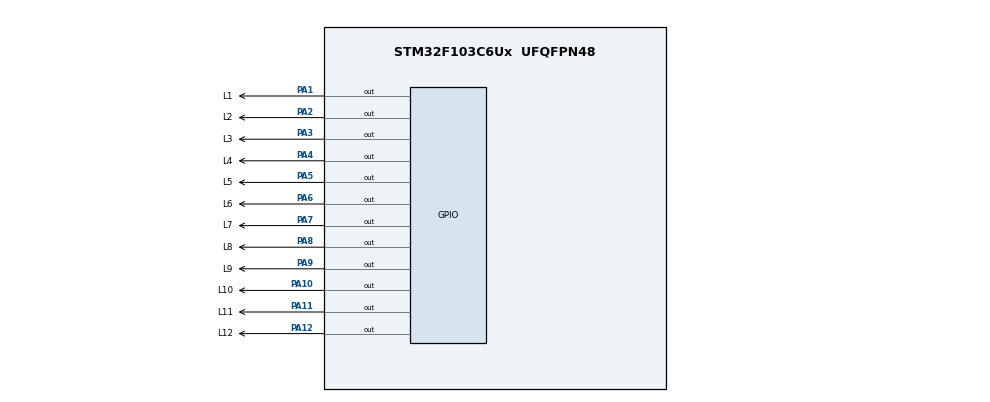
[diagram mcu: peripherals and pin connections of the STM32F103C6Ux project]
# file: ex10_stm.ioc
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Mcu.Family=STM32F1
Mcu.Name=STM32F103C6Ux
Mcu.Package=UFQFPN48
NVIC.PriorityGroup=NVIC_PRIORITYGROUP_4
PA1.GPIO_Label=L1
PA1.Signal=GPIO_Output
PA10.GPIO_Label=L10
PA10.Signal=GPIO_Output
PA11.GPIO_Label=L11
PA11.Signal=GPIO_Output
PA12.GPIO_Label=L12
PA12.Signal=GPIO_Output
PA2.GPIO_Label=L2
PA2.Signal=GPIO_Output
PA3.GPIO_Label=L3
PA3.Signal=GPIO_Output
PA4.GPIO_Label=L4
PA4.Signal=GPIO_Output
PA5.GPIO_Label=L5
PA5.Signal=GPIO_Output
PA6.GPIO_Label=L6
PA6.Signal=GPIO_Output
PA7.GPIO_Label=L7
PA7.Signal=GPIO_Output
PA8.GPIO_Label=L8
PA8.Signal=GPIO_Output
PA9.GPIO_Label=L9
PA9.Signal=GPIO_Output
ProjectManager.HeapSize=0x200
ProjectManager.StackSize=0x400
ProjectManager.TargetToolchain=STM32CubeIDE
RCC.APB1Freq_Value=8000000
RCC.APB2Freq_Value=8000000
VP_SYS_VS_ND.Mode=No_Debug
board=custom

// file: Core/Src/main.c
/* USER CODE BEGIN Header */
/**
  ******************************************************************************
  * @file           : main.c
  * @brief          : Main program body
  ******************************************************************************
  * @attention
  *
  * <h2><center>&copy; Copyright (c) 2022 STMicroelectronics.
  * All rights reserved.</center></h2>
  *
  * This software component is licensed by ST under BSD 3-Clause license,
  * the "License"; You may not use this file except in compliance with the
  * License. You may obtain a copy of the License at:
  *                        opensource.org/licenses/BSD-3-Clause
  *
  ******************************************************************************
  */
/* USER CODE END Header */
#include "main.h"

void SystemClock_Config(void);
static void MX_GPIO_Init(void);

/* USER CODE BEGIN 0 */
void clearAllClock();
void setNumberOnClock(int num);
void clearNumberOnClock(int num);

void clearAllClock()
{
	HAL_GPIO_WritePin(GPIOA, L1_Pin, GPIO_PIN_RESET);
	HAL_GPIO_WritePin(GPIOA, L2_Pin, GPIO_PIN_RESET);
	HAL_GPIO_WritePin(GPIOA, L3_Pin, GPIO_PIN_RESET);
	HAL_GPIO_WritePin(GPIOA, L4_Pin, GPIO_PIN_RESET);
	HAL_GPIO_WritePin(GPIOA, L5_Pin, GPIO_PIN_RESET);
	HAL_GPIO_WritePin(GPIOA, L6_Pin, GPIO_PIN_RESET);
	HAL_GPIO_WritePin(GPIOA, L7_Pin, GPIO_PIN_RESET);
	HAL_GPIO_WritePin(GPIOA, L8_Pin, GPIO_PIN_RESET);
	HAL_GPIO_WritePin(GPIOA, L9_Pin, GPIO_PIN_RESET);
	HAL_GPIO_WritePin(GPIOA, L10_Pin, GPIO_PIN_RESET);
	HAL_GPIO_WritePin(GPIOA, L11_Pin, GPIO_PIN_RESET);
	HAL_GPIO_WritePin(GPIOA, L12_Pin, GPIO_PIN_RESET);
}

void setNumberOnClock(int num)
{
	if(num == 1) HAL_GPIO_WritePin(L1_GPIO_Port, L1_Pin, GPIO_PIN_SET);
	if(num == 2) HAL_GPIO_WritePin(L2_GPIO_Port, L2_Pin, GPIO_PIN_SET);
	if(num == 3) HAL_GPIO_WritePin(L3_GPIO_Port, L3_Pin, GPIO_PIN_SET);
	if(num == 4) HAL_GPIO_WritePin(L4_GPIO_Port, L4_Pin, GPIO_PIN_SET);
	if(num == 5) HAL_GPIO_WritePin(L5_GPIO_Port, L5_Pin, GPIO_PIN_SET);
	if(num == 6) HAL_GPIO_WritePin(L6_GPIO_Port, L6_Pin, GPIO_PIN_SET);
	if(num == 7) HAL_GPIO_WritePin(L7_GPIO_Port, L7_Pin, GPIO_PIN_SET);
	if(num == 8) HAL_GPIO_WritePin(L8_GPIO_Port, L8_Pin, GPIO_PIN_SET);
	if(num == 9) HAL_GPIO_WritePin(L9_GPIO_Port, L9_Pin, GPIO_PIN_SET);
	if(num == 10) HAL_GPIO_WritePin(L10_GPIO_Port, L10_Pin, GPIO_PIN_SET);
	if(num == 11) HAL_GPIO_WritePin(L11_GPIO_Port, L11_Pin, GPIO_PIN_SET);
	if(num == 0) HAL_GPIO_WritePin(L12_GPIO_Port, L12_Pin, GPIO_PIN_SET);
}

void clearNumberOnClock(int num)
{
	if(num == 1) HAL_GPIO_WritePin(L1_GPIO_Port, L1_Pin, GPIO_PIN_RESET);
	if(num == 2) HAL_GPIO_WritePin(L2_GPIO_Port, L2_Pin, GPIO_PIN_RESET);
	if(num == 3) HAL_GPIO_WritePin(L3_GPIO_Port, L3_Pin, GPIO_PIN_RESET);
	if(num == 4) HAL_GPIO_WritePin(L4_GPIO_Port, L4_Pin, GPIO_PIN_RESET);
	if(num == 5) HAL_GPIO_WritePin(L5_GPIO_Port, L5_Pin, GPIO_PIN_RESET);
	if(num == 6) HAL_GPIO_WritePin(L6_GPIO_Port, L6_Pin, GPIO_PIN_RESET);
	if(num == 7) HAL_GPIO_WritePin(L7_GPIO_Port, L7_Pin, GPIO_PIN_RESET);
	if(num == 8) HAL_GPIO_WritePin(L8_GPIO_Port, L8_Pin, GPIO_PIN_RESET);
	if(num == 9) HAL_GPIO_WritePin(L9_GPIO_Port, L9_Pin, GPIO_PIN_RESET);
	if(num == 10) HAL_GPIO_WritePin(L10_GPIO_Port, L10_Pin, GPIO_PIN_RESET);
	if(num == 11) HAL_GPIO_WritePin(L11_GPIO_Port, L11_Pin, GPIO_PIN_RESET);
	if(num == 0) HAL_GPIO_WritePin(L12_GPIO_Port, L12_Pin, GPIO_PIN_RESET);
}
/* USER CODE END 0 */

int main(void)
{

  /* MCU Configuration--------------------------------------------------------*/

  /* Reset of all peripherals, Initializes the Flash interface and the Systick. */
  HAL_Init();

  /* Configure the system clock */
  SystemClock_Config();

  /* Initialize all configured peripherals */
  MX_GPIO_Init();

  /* Infinite loop */
  /* USER CODE BEGIN WHILE */

  // initial hour, minute, second
  int count_second = 0;
  int count_minute = 0;
  int count_hour = 1;

  while (1)
  {
    /* USER CODE END WHILE */

    /* USER CODE BEGIN 3 */

	  //---------- hien thuc kim giay-----------
	  if(count_second == 60)// kim giay chay du 5 vong
	  {
		  // kiem tra dieu kien kim gio, phut, giay trung nhau
		  if((count_second/5 - 1) != (count_minute/5) && (count_second/5 - 1) != count_hour)
		  {
			  //xoa kim giay, tao hieu ung chuyen dong
			  clearNumberOnClock(count_second/5 - 1);
		  }
		  count_minute ++;// cap nhat minute
		  count_second = 0;// reset second ve 0
	  }

	  // kiem tra dieu kien kim gio, phut, giay trung nhau
	  if((count_second/5 - 1) != (count_minute/5) && (count_second/5 - 1) != count_hour)
	  {
		  clearNumberOnClock(count_second/5 - 1);
	  }
	  // hien thi kim giay
	  setNumberOnClock(count_second/5);
	  count_second ++;

	  //--------- hien thuc kim phut----------
	  if(count_minute == 60)//kim phut chay du 1 vong
	  {
		  // kiem tra dieu kien kim gio, phut, giay trung nhau
		  if((count_minute/5 -1) != (count_second/5) && (count_minute/5 -1) != count_hour)
		  {
			  //xoa kim phut, tao hieu ung chuyen dong
			  clearNumberOnClock(count_minute/5 -1);
		  }
		  count_hour ++;// cap nhat kim gio
		  count_minute = 0;// reset kim phut ve 0
	  }

	  // kiem tra dieu kien kim gio, phut, giay trung nhau
	  if((count_minute/5 -1) != (count_second/5) && (count_minute/5 -1) != count_hour)
	  {
		  //xoa kim phut, tao hieu ung chuyen dong
		  clearNumberOnClock(count_minute/5 -1);
	  }
	  // hien thi kim phut
	  setNumberOnClock(count_minute/5);

	  // ------------hien thuc kim gio------------
	  if(count_hour == 12)// kim gio quay duoc 1 vong
	  {
		  // kiem tra dieu kien kim gio, phut, giay trung nhau
		  if((count_hour -1) != (count_minute/5) && (count_hour -1) != (count_second/5))
		  {
			  //xoa kim gio, tao hieu ung chuyen dong
			  clearNumberOnClock(count_hour -1);
		  }
		  count_hour = 0;// reset kim phut ve 0
	  }
	  // kiem tra dieu kien kim gio, phut, giay trung nhau
	  if((count_hour -1) != (count_minute/5) && (count_hour -1) != (count_second/5))
	  {
		  //xoa kim gio, tao hieu ung chuyen dong
		  clearNumberOnClock(count_hour -1);
	  }
	  // hien thi kim gio
	  setNumberOnClock(count_hour);

	  HAL_Delay(50);
  }
  /* USER CODE END 3 */
}

void SystemClock_Config(void)
{
  RCC_OscInitTypeDef RCC_OscInitStruct = {0};
  RCC_ClkInitTypeDef RCC_ClkInitStruct = {0};

  /** Initializes the RCC Oscillators according to the specified parameters
  * in the RCC_OscInitTypeDef structure.
  */
  RCC_OscInitStruct.OscillatorType = RCC_OSCILLATORTYPE_HSI;
  RCC_OscInitStruct.HSIState = RCC_HSI_ON;
  RCC_OscInitStruct.HSICalibrationValue = RCC_HSICALIBRATION_DEFAULT;
  RCC_OscInitStruct.PLL.PLLState = RCC_PLL_NONE;
  if (HAL_RCC_OscConfig(&RCC_OscInitStruct) != HAL_OK)
  {
    Error_Handler();
  }
  /** Initializes the CPU, AHB and APB buses clocks
  */
  RCC_ClkInitStruct.ClockType = RCC_CLOCKTYPE_HCLK|RCC_CLOCKTYPE_SYSCLK
                              |RCC_CLOCKTYPE_PCLK1|RCC_CLOCKTYPE_PCLK2;
  RCC_ClkInitStruct.SYSCLKSource = RCC_SYSCLKSOURCE_HSI;
  RCC_ClkInitStruct.AHBCLKDivider = RCC_SYSCLK_DIV1;
  RCC_ClkInitStruct.APB1CLKDivider = RCC_HCLK_DIV1;
  RCC_ClkInitStruct.APB2CLKDivider = RCC_HCLK_DIV1;

  if (HAL_RCC_ClockConfig(&RCC_ClkInitStruct, FLASH_LATENCY_0) != HAL_OK)
  {
    Error_Handler();
  }
}

static void MX_GPIO_Init(void)
{
  GPIO_InitTypeDef GPIO_InitStruct = {0};

  /* GPIO Ports Clock Enable */
  __HAL_RCC_GPIOA_CLK_ENABLE();

  /*Configure GPIO pin Output Level */
  HAL_GPIO_WritePin(GPIOA, L1_Pin|L2_Pin|L3_Pin
                          |L4_Pin|L5_Pin|L6_Pin|L7_Pin
                          |L8_Pin|L9_Pin|L10_Pin|L11_Pin|L12_Pin, GPIO_PIN_RESET);

  /*Configure GPIO pins : L0_Pin L1_Pin L2_Pin L3_Pin
                           L4_Pin L5_Pin L6_Pin L7_Pin
                           L8_Pin L9_Pin L10_Pin L11_Pin */
  GPIO_InitStruct.Pin = L1_Pin|L2_Pin|L3_Pin
                          |L4_Pin|L5_Pin|L6_Pin|L7_Pin
                          |L8_Pin|L9_Pin|L10_Pin|L11_Pin|L12_Pin;
  GPIO_InitStruct.Mode = GPIO_MODE_OUTPUT_PP;
  GPIO_InitStruct.Pull = GPIO_NOPULL;
  GPIO_InitStruct.Speed = GPIO_SPEED_FREQ_LOW;
  HAL_GPIO_Init(GPIOA, &GPIO_InitStruct);

}

void Error_Handler(void)
{
  __disable_irq();
  while (1)
  {
  }
}

/************************ (C) COPYRIGHT STMicroelectronics *****END OF FILE****/
